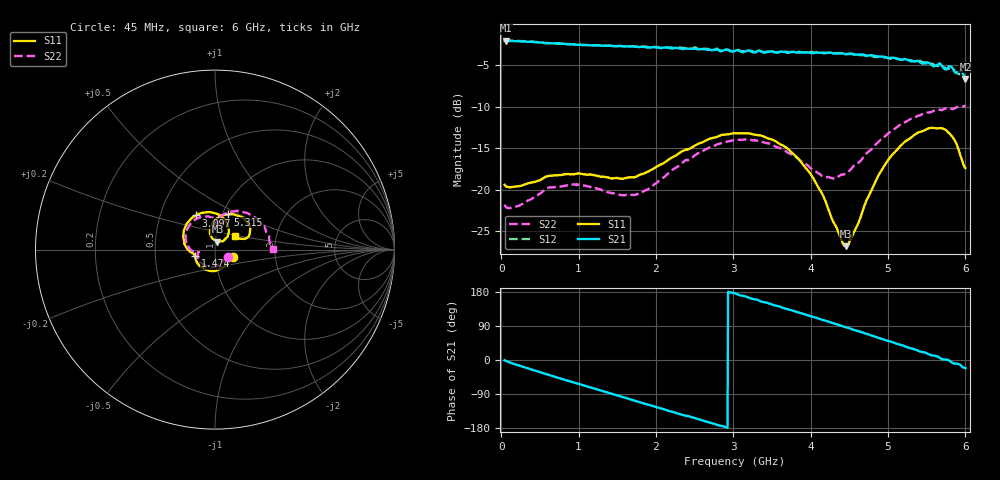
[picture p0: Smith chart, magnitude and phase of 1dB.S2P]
! C:\Users\Aljaz\OneDrive - Univerza v Ljubljani\DOKTORAT\NOVI SA\Slabilec PE43711B\meritve\1dB.S2P
! Touchstone 1.1 file saved by VNA.EXE V1.65 (www.ke5fx.com/gpib/readme.htm)
! 2. 04. 2022 19:10:52
!  Source: HP8510C.07.14: Aug 26  1998
!  Min freq: 4.500000E+007 Hz
!  Max freq: 6.000000E+009 Hz
!  Points: 801
!  Params: S11 S21 S12 S22
# GHZ S DB R 50
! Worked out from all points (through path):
!   801 points, 45 MHz to 6 GHz, reference 50 ohm
!   highest |S21| = -2.06 dB at 59.89 MHz (marker M1); lowest = -6.7 dB at 6 GHz (marker M2)
!   group delay of S21, straight-line fit = 172 ps
!   lowest |S11| = -26.8 dB at 4.452 GHz (marker M3), VSWR 1.10, Z = 51.2 + j4.45 ohm
!   |S11| at or under -10 dB: start of sweep to end of sweep
!   |S22| runs from -22.3 to -9.8 dB; largest |S21 - S12| = 0.032
!   S11 on the Smith chart (normalised r, x): 45 MHz: 1.21, -0.10; 1.474 GHz: 0.80, -0.06; 3.097 GHz: 0.76, +0.30; 5.315 GHz: 1.07, +0.44; 6 GHz: 1.23, +0.19
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0.045  -19.43 -23.1  -2.07 -0.7  -2.02 -0.7  -21.82 -30.2
0.0598875  -19.62 -22.2  -2.06 -2.3  -2.02 -2.3  -22.07 -28.3
0.5362875  -18.68 -85.4  -2.29 -34.7  -2.26 -34.6  -20.24 -95.3
1.042463  -18.12 -137.7  -2.57 -65.6  -2.56 -65.6  -19.47 -148.1
1.4742  -18.61 -161.9  -2.72 -91.7  -2.68 -91.7  -20.49 -170.0
1.757062  -18.40 -168.7  -2.81 -109.4  -2.76 -109.0  -20.57 -171.6
2.032481  -17.13 -175.1  -2.88 -126.2  -2.80 -125.8  -18.99 -172.8
2.523769  -14.60 160.7  -3.03 -154.8  -2.93 -155.5  -15.76 166.6
3.0225  -13.20 125.1  -3.27 176.1  -3.31 175.5  -14.04 133.1
3.096938  -13.23 119.3  -3.35 170.1  -3.31 170.3  -14.02 127.8
3.327694  -13.46 100.9  -3.22 157.3  -3.33 157.6  -14.13 111.8
3.662663  -14.83 74.9  -3.42 136.4  -3.37 136.7  -15.28 90.8
4.019963  -18.43 50.6  -3.53 114.5  -3.43 114.0  -17.58 78.4
4.287937  -23.79 46.4  -3.58 97.1  -3.52 96.9  -18.63 82.4
4.4517  -26.83 72.4  -3.67 86.7  -3.64 86.1  -18.06 87.5
4.667569  -22.67 105.8  -3.71 72.5  -3.81 72.3  -16.27 86.1
5.009981  -16.34 94.2  -4.13 49.9  -4.20 50.2  -13.16 70.9
5.315175  -13.59 69.4  -4.51 29.9  -4.46 29.9  -11.38 49.4
5.5236  -12.63 51.1  -4.71 15.4  -4.79 16.3  -10.72 33.1
5.732025  -12.74 32.2  -5.47 1.0  -5.29 0.8  -10.25 16.4
5.858569  -14.00 21.2  -5.76 -9.5  -5.64 -9.2  -10.23 7.5
6  -17.41 34.3  -6.66 -21.3  -6.70 -19.6  -9.82 0.3
